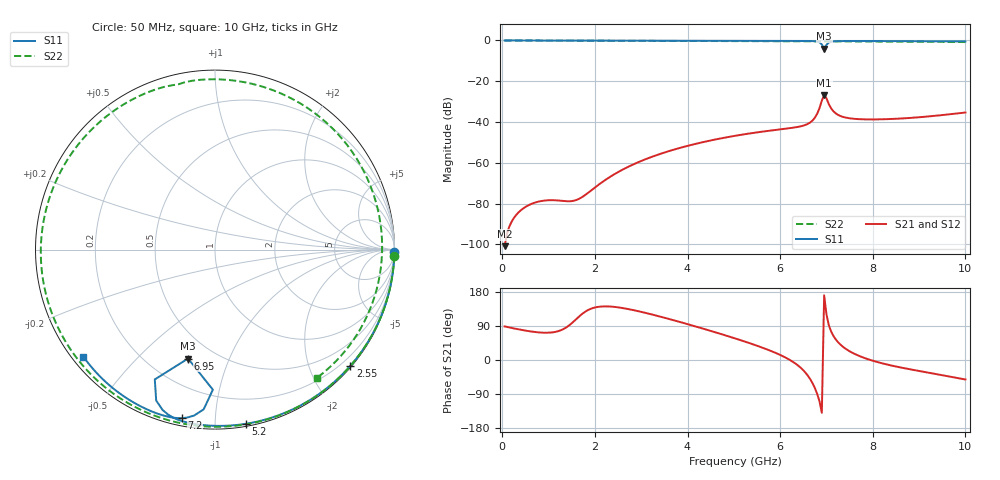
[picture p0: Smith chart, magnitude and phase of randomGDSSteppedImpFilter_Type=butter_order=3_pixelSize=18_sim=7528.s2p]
! freq	dB(S11)	phase(S11)	dB(S12)	phase(S12)
!  dB(S21)	phase(S21)	dB(S22)	phase(S22)
!S-par simulation data
#  GHz  S  DB  R 50
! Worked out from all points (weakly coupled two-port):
!   200 points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, 50 MHz to 10 GHz, reference 50 ohm
!   highest |S21| = -26.72 dB at 6.95 GHz (marker M1); lowest = -100.9 dB at 50 MHz (marker M2)
!   lowest |S11| = -4.1 dB at 6.95 GHz (marker M3), VSWR 4.34, Z = 18 - j35.9 ohm
!   |S11| at or under -10 dB: nowhere
!   |S22| runs from -0.8 to 0.0 dB; largest |S21 - S12| = 0
!   S11 on the Smith chart (normalised r, x): 50 MHz: open; 2.55 GHz: 0.02, -2.70; 5.2 GHz: 0.02, -1.19; 6.95 GHz: 0.36, -0.72; 7.2 GHz: 0.04, -0.82; 10 GHz: 0.03, -0.35
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0.05  -0.00 -0.8  -100.85 88.6  -100.85 88.6  -0.01 -1.9
0.85  -0.02 -13.8  -78.68 72.2  -78.68 72.2  -0.04 -32.2
1.5  -0.03 -24.2  -78.75 97.1  -78.75 97.1  -0.07 -56.0
1.75  -0.04 -28.2  -76.40 124.0  -76.40 124.0  -0.08 -65.0
2.55  -0.05 -40.7  -63.91 138.1  -63.91 138.1  -0.11 -93.0
3.4  -0.07 -53.6  -55.70 114.8  -55.70 114.8  -0.15 -121.8
4.25  -0.09 -66.2  -50.28 85.8  -50.28 85.8  -0.20 -150.5
5.05  -0.12 -77.8  -46.65 56.1  -46.65 56.1  -0.26 -178.6
5.2  -0.13 -79.9  -46.09 50.2  -46.09 50.2  -0.27 175.9
5.95  -0.16 -90.7  -43.73 16.2  -43.73 16.2  -0.34 146.8
6.45  -0.21 -98.5  -42.06 -21.2  -42.06 -21.2  -0.39 125.5
6.7  -0.32 -104.1  -39.22 -61.3  -39.22 -61.3  -0.42 114.1
6.8  -0.54 -108.1  -35.92 -89.4  -35.92 -89.4  -0.43 109.4
6.9  -1.97 -114.9  -29.51 -139.2  -29.51 -139.2  -0.48 104.6
6.95  -4.08 -103.9  -26.72 170.7  -26.72 170.7  -0.51 102.5
7  -2.15 -90.9  -28.38 120.6  -28.38 120.6  -0.47 100.3
7.05  -0.99 -94.0  -31.19 92.3  -31.19 92.3  -0.45 97.8
7.2  -0.38 -101.2  -35.74 54.4  -35.74 54.4  -0.45 90.3
7.75  -0.28 -111.4  -38.63 8.5  -38.63 8.5  -0.51 62.0
8.35  -0.32 -119.7  -38.54 -13.1  -38.54 -13.1  -0.56 30.1
9.1  -0.39 -129.4  -37.46 -31.1  -37.46 -31.1  -0.64 -9.0
10  -0.49 -140.9  -35.33 -51.4  -35.33 -51.4  -0.79 -51.4
